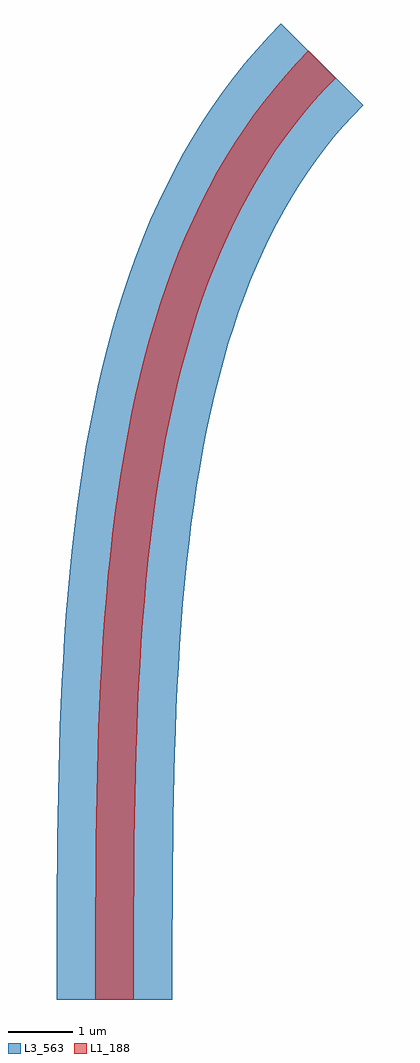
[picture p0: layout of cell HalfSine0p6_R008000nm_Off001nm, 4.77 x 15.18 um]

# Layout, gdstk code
import gdstk
lib = gdstk.Library(unit=1e-6, precision=1e-09)
L1_188 = (1, 188)
L3_563 = (3, 563)

halfsine0p6_r008000nm_of = lib.new_cell('HalfSine0p6_R008000nm_Off001nm')
halfsine0p6_r008000nm_of.add(gdstk.FlexPath([(0,-17.773),(0,-17.772),(0,-17.416),(0,-17.061),(0.001,-16.706),(0.002,-16.352),(0.004,-15.998),(0.006,-15.645),(0.01,-15.294),(0.015,-14.943),(0.021,-14.594),(0.029,-14.246),(0.039,-13.9),(0.05,-13.557),(0.064,-13.215),(0.079,-12.875),(0.098,-12.538),(0.118,-12.203),(0.142,-11.871),(0.168,-11.542),(0.197,-11.215),(0.229,-10.892),(0.265,-10.572),(0.304,-10.256),(0.347,-9.943),(0.393,-9.634),(0.443,-9.329),(0.497,-9.027),(0.555,-8.73),(0.617,-8.437),(0.684,-8.148),(0.755,-7.864),(0.831,-7.584),(0.911,-7.308),(0.996,-7.038),(1.085,-6.772),(1.18,-6.511),(1.279,-6.255),(1.384,-6.004),(1.494,-5.759),(1.608,-5.518),(1.729,-5.283),(1.854,-5.053),(1.985,-4.828),(2.121,-4.609),(2.263,-4.395),(2.41,-4.187),(2.563,-3.984),(2.721,-3.787),(2.885,-3.596),(3.054,-3.409),(3.229,-3.229),(3.23,-3.228)], 0.6, ends="flush", simple_path=True, layer=1, datatype=188))  # L1_188
halfsine0p6_r008000nm_of.add(gdstk.FlexPath([(0,-17.773),(0,-17.772),(0,-17.416),(0,-17.061),(0.001,-16.706),(0.002,-16.352),(0.004,-15.998),(0.006,-15.645),(0.01,-15.294),(0.015,-14.943),(0.021,-14.594),(0.029,-14.246),(0.039,-13.9),(0.05,-13.557),(0.064,-13.215),(0.079,-12.875),(0.098,-12.538),(0.118,-12.203),(0.142,-11.871),(0.168,-11.542),(0.197,-11.215),(0.229,-10.892),(0.265,-10.572),(0.304,-10.256),(0.347,-9.943),(0.393,-9.634),(0.443,-9.329),(0.497,-9.027),(0.555,-8.73),(0.617,-8.437),(0.684,-8.148),(0.755,-7.864),(0.831,-7.584),(0.911,-7.308),(0.996,-7.038),(1.085,-6.772),(1.18,-6.511),(1.279,-6.255),(1.384,-6.004),(1.494,-5.759),(1.608,-5.518),(1.729,-5.283),(1.854,-5.053),(1.985,-4.828),(2.121,-4.609),(2.263,-4.395),(2.41,-4.187),(2.563,-3.984),(2.721,-3.787),(2.885,-3.596),(3.054,-3.409),(3.229,-3.229),(3.23,-3.228)], 1.8, ends="flush", simple_path=True, layer=3, datatype=563))  # L3_563

lib.write_gds('HalfSine0p6_R008000nm_Off001nm.gds')
